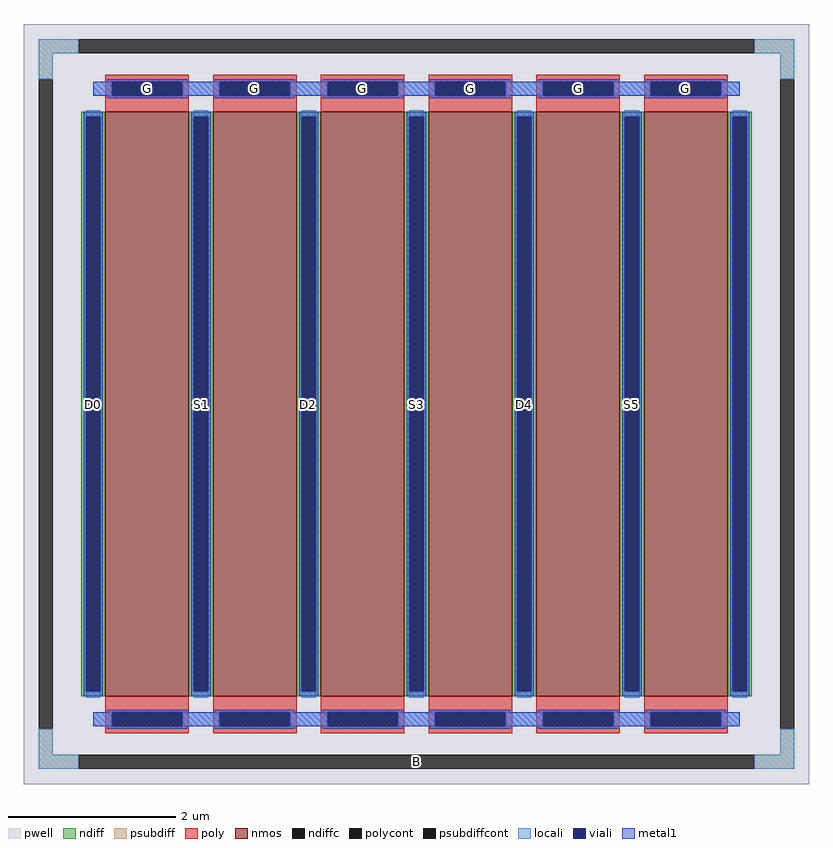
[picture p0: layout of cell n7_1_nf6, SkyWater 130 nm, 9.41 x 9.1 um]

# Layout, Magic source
magic
tech sky130A
magscale 1 2
<< pwell >>
rect -941 -910 941 910
<< nmos >>
rect -745 -700 -545 700
rect -487 -700 -287 700
rect -229 -700 -29 700
rect 29 -700 229 700
rect 287 -700 487 700
rect 545 -700 745 700
<< ndiff >>
rect -803 688 -745 700
rect -803 -688 -791 688
rect -757 -688 -745 688
rect -803 -700 -745 -688
rect -545 688 -487 700
rect -545 -688 -533 688
rect -499 -688 -487 688
rect -545 -700 -487 -688
rect -287 688 -229 700
rect -287 -688 -275 688
rect -241 -688 -229 688
rect -287 -700 -229 -688
rect -29 688 29 700
rect -29 -688 -17 688
rect 17 -688 29 688
rect -29 -700 29 -688
rect 229 688 287 700
rect 229 -688 241 688
rect 275 -688 287 688
rect 229 -700 287 -688
rect 487 688 545 700
rect 487 -688 499 688
rect 533 -688 545 688
rect 487 -700 545 -688
rect 745 688 803 700
rect 745 -688 757 688
rect 791 -688 803 688
rect 745 -700 803 -688
<< ndiffc >>
rect -791 -688 -757 688
rect -533 -688 -499 688
rect -275 -688 -241 688
rect -17 -688 17 688
rect 241 -688 275 688
rect 499 -688 533 688
rect 757 -688 791 688
<< psubdiff >>
rect -905 840 -809 874
rect 809 840 905 874
rect -905 778 -871 840
rect 871 778 905 840
rect -905 -840 -871 -778
rect 871 -840 905 -778
rect -905 -874 -809 -840
rect 809 -874 905 -840
<< psubdiffcont >>
rect -809 840 809 874
rect -905 -778 -871 778
rect 871 -778 905 778
rect -809 -874 809 -840
<< poly >>
rect -745 772 -545 788
rect -745 738 -729 772
rect -561 738 -545 772
rect -745 700 -545 738
rect -487 772 -287 788
rect -487 738 -471 772
rect -303 738 -287 772
rect -487 700 -287 738
rect -229 772 -29 788
rect -229 738 -213 772
rect -45 738 -29 772
rect -229 700 -29 738
rect 29 772 229 788
rect 29 738 45 772
rect 213 738 229 772
rect 29 700 229 738
rect 287 772 487 788
rect 287 738 303 772
rect 471 738 487 772
rect 287 700 487 738
rect 545 772 745 788
rect 545 738 561 772
rect 729 738 745 772
rect 545 700 745 738
rect -745 -738 -545 -700
rect -745 -772 -729 -738
rect -561 -772 -545 -738
rect -745 -788 -545 -772
rect -487 -738 -287 -700
rect -487 -772 -471 -738
rect -303 -772 -287 -738
rect -487 -788 -287 -772
rect -229 -738 -29 -700
rect -229 -772 -213 -738
rect -45 -772 -29 -738
rect -229 -788 -29 -772
rect 29 -738 229 -700
rect 29 -772 45 -738
rect 213 -772 229 -738
rect 29 -788 229 -772
rect 287 -738 487 -700
rect 287 -772 303 -738
rect 471 -772 487 -738
rect 287 -788 487 -772
rect 545 -738 745 -700
rect 545 -772 561 -738
rect 729 -772 745 -738
rect 545 -788 745 -772
<< polycont >>
rect -729 738 -561 772
rect -471 738 -303 772
rect -213 738 -45 772
rect 45 738 213 772
rect 303 738 471 772
rect 561 738 729 772
rect -729 -772 -561 -738
rect -471 -772 -303 -738
rect -213 -772 -45 -738
rect 45 -772 213 -738
rect 303 -772 471 -738
rect 561 -772 729 -738
<< locali >>
rect -905 840 -809 874
rect 809 840 905 874
rect -905 778 -871 840
rect 871 778 905 840
rect -774 738 -729 772
rect -561 738 -471 772
rect -303 738 -213 772
rect -45 738 45 772
rect 213 738 303 772
rect 471 738 561 772
rect 729 738 774 772
rect -791 688 -757 704
rect -791 -704 -757 -688
rect -533 688 -499 704
rect -533 -704 -499 -688
rect -275 688 -241 704
rect -275 -704 -241 -688
rect -17 688 17 704
rect -17 -704 17 -688
rect 241 688 275 704
rect 241 -704 275 -688
rect 499 688 533 704
rect 499 -704 533 -688
rect 757 688 791 704
rect 757 -704 791 -688
rect -774 -772 -729 -738
rect -561 -772 -471 -738
rect -303 -772 -213 -738
rect -45 -772 45 -738
rect 213 -772 303 -738
rect 471 -772 561 -738
rect 729 -772 774 -738
rect -905 -840 -871 -778
rect 871 -840 905 -778
rect -905 -874 -809 -840
rect 809 -874 905 -840
<< viali >>
rect -729 738 -561 772
rect -471 738 -303 772
rect -213 738 -45 772
rect 45 738 213 772
rect 303 738 471 772
rect 561 738 729 772
rect -791 -688 -757 688
rect -533 -688 -499 688
rect -275 -688 -241 688
rect -17 -688 17 688
rect 241 -688 275 688
rect 499 -688 533 688
rect 757 -688 791 688
rect -729 -772 -561 -738
rect -471 -772 -303 -738
rect -213 -772 -45 -738
rect 45 -772 213 -738
rect 303 -772 471 -738
rect 561 -772 729 -738
<< metal1 >>
rect -741 772 -549 778
rect -483 772 -291 778
rect -225 772 -33 778
rect 33 772 225 778
rect 291 772 483 778
rect 549 772 741 778
rect -774 738 -729 772
rect -561 738 -471 772
rect -303 738 -213 772
rect -45 738 45 772
rect 213 738 303 772
rect 471 738 561 772
rect 729 738 774 772
rect -741 732 -549 738
rect -483 732 -291 738
rect -225 732 -33 738
rect 33 732 225 738
rect 291 732 483 738
rect 549 732 741 738
rect -797 688 -751 700
rect -797 -688 -791 688
rect -757 -688 -751 688
rect -797 -700 -751 -688
rect -539 688 -493 700
rect -539 -688 -533 688
rect -499 -688 -493 688
rect -539 -700 -493 -688
rect -281 688 -235 700
rect -281 -688 -275 688
rect -241 -688 -235 688
rect -281 -700 -235 -688
rect -23 688 23 700
rect -23 -688 -17 688
rect 17 -688 23 688
rect -23 -700 23 -688
rect 235 688 281 700
rect 235 -688 241 688
rect 275 -688 281 688
rect 235 -700 281 -688
rect 493 688 539 700
rect 493 -688 499 688
rect 533 -688 539 688
rect 493 -700 539 -688
rect 751 688 797 700
rect 751 -688 757 688
rect 791 -688 797 688
rect 751 -700 797 -688
rect -741 -738 -549 -732
rect -483 -738 -291 -732
rect -225 -738 -33 -732
rect 33 -738 225 -732
rect 291 -738 483 -732
rect 549 -738 741 -732
rect -774 -772 -729 -738
rect -561 -772 -471 -738
rect -303 -772 -213 -738
rect -45 -772 45 -738
rect 213 -772 303 -738
rect 471 -772 561 -738
rect 729 -772 774 -738
rect -741 -778 -549 -772
rect -483 -778 -291 -772
rect -225 -778 -33 -772
rect 33 -778 225 -772
rect 291 -778 483 -772
rect 549 -778 741 -772
<< labels >>
rlabel psubdiffcont 0 -857 0 -857 0 B
port 1 nsew
rlabel ndiffc -774 0 -774 0 0 D0
port 2 nsew
rlabel polycont -645 755 -645 755 0 G
port 3 nsew
rlabel ndiffc -516 0 -516 0 0 S1
port 4 nsew
rlabel polycont -387 755 -387 755 0 G
port 3 nsew
rlabel ndiffc -258 0 -258 0 0 D2
port 5 nsew
rlabel polycont -129 755 -129 755 0 G
port 3 nsew
rlabel ndiffc 0 0 0 0 0 S3
port 6 nsew
rlabel polycont 129 755 129 755 0 G
port 3 nsew
rlabel ndiffc 258 0 258 0 0 D4
port 7 nsew
rlabel polycont 387 755 387 755 0 G
port 3 nsew
rlabel ndiffc 516 0 516 0 0 S5
port 8 nsew
rlabel polycont 645 755 645 755 0 G
port 3 nsew
<< properties >>
string FIXED_BBOX -888 -857 888 857
string gencell sky130_fd_pr__nfet_01v8
string library sky130
string parameters w 7 l 1 m 1 nf 6 diffcov 100 polycov 100 guard 1 glc 1 grc 1 gtc 1 gbc 1 tbcov 100 rlcov 100 topc 1 botc 1 poverlap 0 doverlap 1 lmin 0.15 wmin 0.42 class mosfet compatible {sky130_fd_pr__nfet_01v8 sky130_fd_pr__nfet_01v8_lvt  sky130_fd_bs_flash__special_sonosfet_star  sky130_fd_pr__nfet_g5v0d10v5 sky130_fd_pr__nfet_05v0_nvt  sky130_fd_pr__nfet_03v3_nvt} full_metal 1 conn_gates 1 viasrc 100 viadrn 100 viagate 100 viagb 0 viagr 0 viagl 0 viagt 0 doports 1
<< end >>
